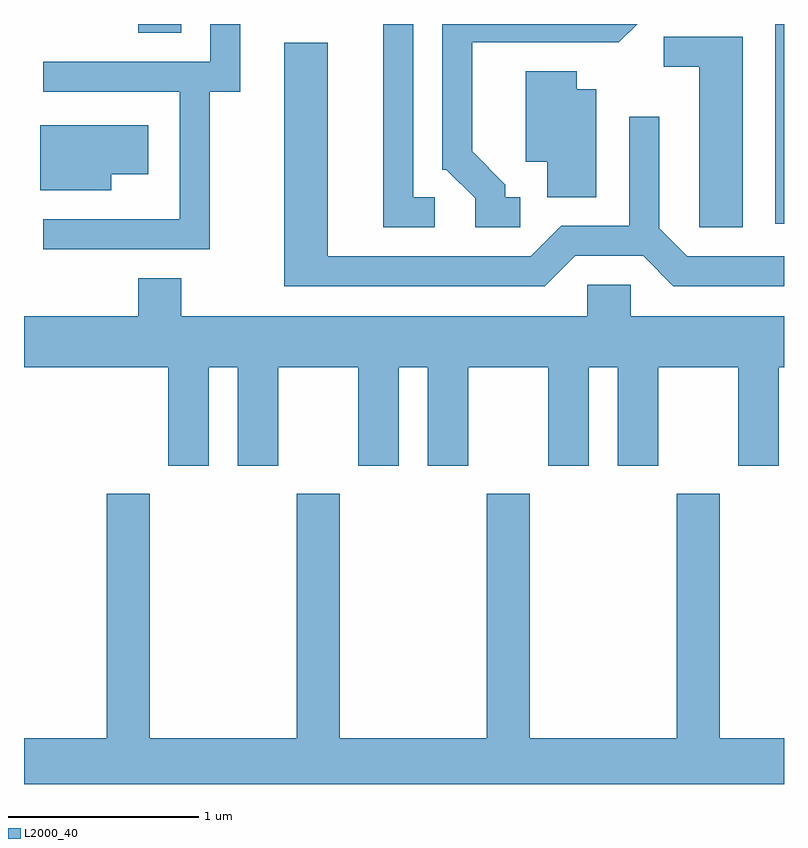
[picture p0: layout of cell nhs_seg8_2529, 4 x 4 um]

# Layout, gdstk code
import gdstk
lib = gdstk.Library(unit=1e-6, precision=1e-09)
def R(c, l, rs):  # rectangles x0, y0, x1, y1
    for r in rs: c.add(gdstk.rectangle(r[:2], r[2:], *l))
def P(c, l, *ps):  # polygons
    for p in ps: c.add(gdstk.Polygon(p, *l))
L2000_40 = (2000, 40)

nhs_seg8_2529 = lib.new_cell('nhs_seg8_2529')
R(nhs_seg8_2529, L2000_40, [(263.566,1939.291,263.611,1940.342), (260.211,1940.296,260.439,1940.342)])
P(nhs_seg8_2529, L2000_40, [(262.223,1939.429),(262.144,1939.429),(262.144,1939.497),(261.969,1939.672),(261.969,1940.246),(262.742,1940.246),(262.838,1940.342),(261.811,1940.342),(261.811,1939.576),(261.834,1939.576),(261.986,1939.424),(261.986,1939.271),(262.223,1939.271)],
  [(261.772,1939.429),(261.659,1939.429),(261.659,1940.342),(261.501,1940.342),(261.501,1939.271),(261.772,1939.271)],
  [(260.589,1939.986),(260.749,1939.986),(260.749,1940.342),(260.591,1940.342),(260.591,1940.144),(259.712,1940.144),(259.712,1939.986),(260.431,1939.986),(260.431,1939.314),(259.712,1939.314),(259.712,1939.156),(260.589,1939.156)],
  [(263.394,1940.274),(262.978,1940.274),(262.978,1940.116),(263.166,1940.116),(263.166,1939.271),(263.394,1939.271)],
  [(262.512,1939.121),(262.869,1939.121),(263.029,1938.961),(263.611,1938.961),(263.611,1939.119),(263.102,1939.119),(262.954,1939.267),(262.954,1939.853),(262.796,1939.853),(262.796,1939.279),(262.439,1939.279),(262.279,1939.119),(261.209,1939.119),(261.209,1940.244),(260.981,1940.244),(260.981,1938.961),(262.352,1938.961)],
  [(262.624,1939.999),(262.519,1939.999),(262.519,1940.094),(262.251,1940.094),(262.251,1939.616),(262.366,1939.616),(262.366,1939.431),(262.624,1939.431)],
  [(260.069,1939.551),(260.264,1939.551),(260.264,1939.809),(259.696,1939.809),(259.696,1939.466),(260.069,1939.466)],
  [(260.584,1938.536),(260.736,1938.536),(260.736,1938.016),(260.949,1938.016),(260.949,1938.536),(261.371,1938.536),(261.371,1938.016),(261.584,1938.016),(261.584,1938.536),(261.736,1938.536),(261.736,1938.016),(261.949,1938.016),(261.949,1938.536),(262.371,1938.536),(262.371,1938.016),(262.584,1938.016),(262.584,1938.536),(262.736,1938.536),(262.736,1938.016),(262.949,1938.016),(262.949,1938.536),(263.371,1938.536),(263.371,1938.016),(263.584,1938.016),(263.584,1938.536),(263.611,1938.536),(263.611,1938.804),(262.804,1938.804),(262.804,1938.969),(262.576,1938.969),(262.576,1938.804),(260.439,1938.804),(260.439,1939.004),(260.211,1939.004),(260.211,1938.804),(259.611,1938.804),(259.611,1938.536),(260.371,1938.536),(260.371,1938.016),(260.584,1938.016)],
  [(263.611,1936.584),(263.274,1936.584),(263.274,1937.869),(263.046,1937.869),(263.046,1936.584),(262.274,1936.584),(262.274,1937.869),(262.046,1937.869),(262.046,1936.584),(261.274,1936.584),(261.274,1937.869),(261.046,1937.869),(261.046,1936.584),(260.274,1936.584),(260.274,1937.869),(260.046,1937.869),(260.046,1936.584),(259.611,1936.584),(259.611,1936.342),(263.611,1936.342)])

lib.write_gds('nhs_seg8_2529.gds')
